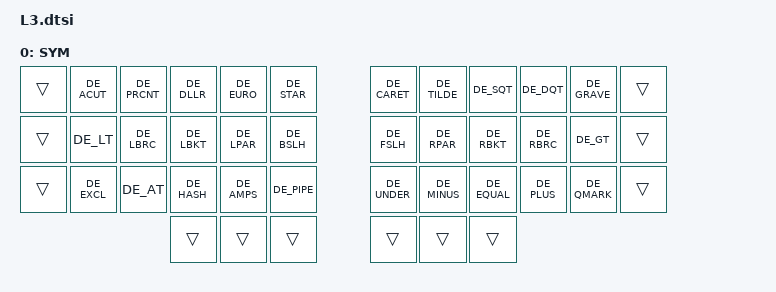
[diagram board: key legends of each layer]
/**
 * Symbols Layer
 */

/ {
  keymap {
    compatible = "zmk,keymap";

    layer_sym {
      label = "SYM";
      bindings = <
// ╭───────────────┬───────────────┬───────────────┬───────────────┬───────────────┬───────────────╮   ╭───────────────┬───────────────┬───────────────┬───────────────┬───────────────┬───────────────╮
//  0               1               2               3               4               5                   6               7               8               9               10              11
    &trans          &kp DE_ACUT     &kp DE_PRCNT    &kp DE_DLLR     &kp DE_EURO     &kp DE_STAR         &kp DE_CARET    &kp DE_TILDE    &kp DE_SQT      &kp DE_DQT      &kp DE_GRAVE    &trans
// ├───────────────├───────────────┼───────────────┼───────────────┼───────────────┼───────────────┤   ├───────────────├───────────────┼───────────────┼───────────────┼───────────────┼───────────────┤
//  12              13              14              15              16              17                  18              19              20              21              22              23rans
    &trans          &kp DE_LT       &kp DE_LBRC     &kp DE_LBKT     &kp DE_LPAR     &kp DE_BSLH         &kp DE_FSLH     &kp DE_RPAR     &kp DE_RBKT     &kp DE_RBRC     &kp DE_GT       &trans
// ├───────────────├───────────────┼───────────────┼───────────────┼───────────────┼───────────────┤   ├───────────────├───────────────┼───────────────┼───────────────┼───────────────┼───────────────┤
//  24              25              26              27              28              29                  30              31              32              33              34              35rans
    &trans          &kp DE_EXCL     &kp DE_AT       &kp DE_HASH     &kp DE_AMPS     &kp DE_PIPE         &kp DE_UNDER    &kp DE_MINUS    &kp DE_EQUAL    &kp DE_PLUS     &kp DE_QMARK    &trans
// ╰───────────────┴───────────────┴───────────────┼───────────────┼───────────────┼───────────────┤   ├───────────────├───────────────┼───────────────┼───────────────┴───────────────┴───────────────╯
//                                                  36              37              38                  39              40              41
                                                    &trans          &trans          &trans              &trans          &trans          &trans
//                                                 ╰───────────────┴───────────────┴───────────────╯   ╰───────────────┴───────────────┴───────────────╯
      >;
    };
  };
};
